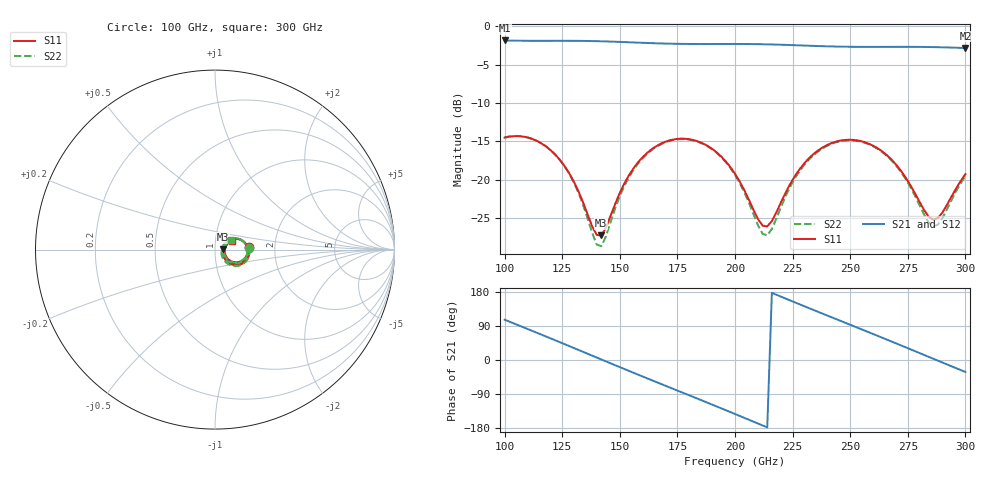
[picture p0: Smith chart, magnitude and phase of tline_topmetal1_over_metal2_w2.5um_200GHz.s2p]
#  GHZ S DB R 50
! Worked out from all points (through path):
!   101 points, 100 GHz to 300 GHz, reference 50 ohm
!   highest |S21| = -1.83 dB at 100 GHz (marker M1); lowest = -2.8 dB at 300 GHz (marker M2)
!   group delay of S21, straight-line fit = 6.91 ps
!   lowest |S11| = -27.3 dB at 142 GHz (marker M3), VSWR 1.09, Z = 54.5 + j0.179 ohm
!   |S11| at or under -10 dB: start of sweep to end of sweep
!   |S22| runs from -28.7 to -14.3 dB; largest |S21 - S12| = 9.3e-14
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100  -14.53 3.7  -1.83 106.3  -1.83 106.3  -14.50 2.2
108  -14.39 -11.6  -1.87 86.7  -1.87 86.7  -14.37 -13.4
116  -15.28 -26.5  -1.88 66.9  -1.88 66.9  -15.27 -28.7
126  -18.23 -41.9  -1.88 41.9  -1.88 41.9  -18.27 -45.3
134  -22.94 -43.2  -1.89 21.7  -1.89 21.7  -23.25 -48.6
140  -27.24 -15.1  -1.93 6.4  -1.93 6.4  -28.50 -19.5
142  -27.30 2.2  -1.94 1.4  -1.94 1.4  -28.71 1.4
154  -19.42 32.8  -2.07 -28.8  -2.07 -28.8  -19.67 34.7
168  -15.29 12.9  -2.22 -63.5  -2.22 -63.5  -15.37 13.2
176  -14.67 -1.6  -2.28 -83.1  -2.28 -83.1  -14.73 -1.8
184  -15.03 -16.0  -2.29 -102.7  -2.29 -102.7  -15.08 -16.8
200  -19.25 -38.3  -2.29 -142.5  -2.29 -142.5  -19.39 -41.0
210  -25.18 -23.7  -2.32 -167.7  -2.32 -167.7  -26.00 -27.7
214  -26.12 1.6  -2.34 -177.8  -2.34 -177.8  -27.30 1.4
224  -20.55 31.7  -2.43 157.1  -2.43 157.1  -20.91 34.5
234  -16.69 22.9  -2.54 132.2  -2.54 132.2  -16.84 24.5
244  -15.03 6.8  -2.63 107.7  -2.63 107.7  -15.13 7.7
252  -14.84 -7.0  -2.66 88.1  -2.66 88.1  -14.92 -6.7
268  -17.41 -31.8  -2.67 48.6  -2.67 48.6  -17.52 -32.6
278  -21.74 -34.7  -2.67 23.6  -2.67 23.6  -22.06 -36.8
286  -25.24 -6.4  -2.70 3.5  -2.70 3.5  -26.11 -6.6
300  -19.30 27.0  -2.82 -31.6  -2.82 -31.6  -19.54 29.8
